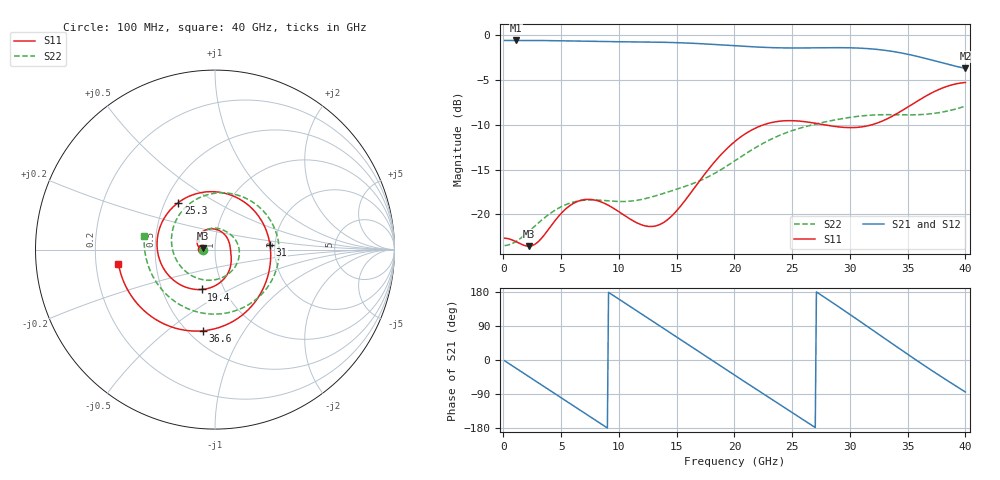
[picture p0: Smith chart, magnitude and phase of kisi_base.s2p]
! B_s8_L1L3_bd_d300: L1→L3, back-drilled to 0.2 mm below L3, drill Ø0.3
! stackup: 8-layer 1.6 mm FR-4 (generic)
! ports: 1, 2
! kisi-fdtd, conformal, dfine 0.035 mm, 637065 cells
# Hz S RI R 50
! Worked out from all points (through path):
!   400 points, 100 MHz to 40 GHz, reference 50 ohm
!   highest |S21| = -0.60 dB at 1.1 GHz (marker M1); lowest = -3.7 dB at 40 GHz (marker M2)
!   group delay of S21, straight-line fit = 55.9 ps
!   lowest |S11| = -23.5 dB at 2.2 GHz (marker M3), VSWR 1.14, Z = 43.8 + j0.602 ohm
!   |S11| at or under -10 dB: start of sweep to 22.54 GHz; 27.75 GHz to 31.91 GHz (4.158 GHz wide, 13.9 % of centre)
!   |S22| runs from -23.5 to -7.9 dB; largest |S21 - S12| = 0.0015
!   S11 on the Smith chart (normalised r, x): 100 MHz: 0.86, +0.00; 19.4 GHz: 0.78, -0.37; 25.3 GHz: 0.59, +0.34; 31 GHz: 1.88, +0.11; 36.6 GHz: 0.59, -0.67; 40 GHz: 0.30, -0.07
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1e8  -0.0737 0.00089  0.9325 -0.0325  0.9318 -0.0324  -0.067 0.000178
1.1e9  -0.07 0.00767  0.8655 -0.3486  0.8651 -0.348  -0.0707 0.00305
2.2e9  -0.0662 0.00684  0.6722 -0.6469  0.6725 -0.6463  -0.0795 0.0122
4.5e9  -0.0916 0.0153  0.00208 -0.9302  0.00228 -0.9307  -0.0867 0.0607
6.8e9  -0.0835 0.0865  -0.6621 -0.6453  -0.6624 -0.6452  -0.043 0.1117
8.4e9  -0.0225 0.1156  -0.8991 -0.1985  -0.8991 -0.1982  0.00373 0.1199
9.9e9  0.0391 0.0969  -0.8763 0.2743  -0.876 0.2743  0.0429 0.1101
1.18e10  0.079 0.0395  -0.5215 0.7527  -0.5215 0.7525  0.0864 0.0841
1.34e10  0.0869 -0.00608  -0.042 0.9117  -0.0422 0.9118  0.121 0.0424
1.49e10  0.0905 -0.0495  0.4195 0.8049  0.4195 0.805  0.1356 -0.0235
1.67e10  0.0759 -0.1238  0.8052 0.3971  0.8054 0.397  0.0933 -0.119
1.94e10  -0.0746 -0.2222  0.7757 -0.4087  0.7756 -0.4088  -0.0976 -0.1597
2.01e10  -0.1375 -0.2171  0.6504 -0.5793  0.6503 -0.5793  -0.1509 -0.1317
2.27e10  -0.3177 -0.0236  -0.0449 -0.8521  -0.0447 -0.8521  -0.2413 0.0775
2.53e10  -0.2047 0.2621  -0.6879 -0.4942  -0.688 -0.4944  -0.1135 0.275
2.67e10  -0.0385 0.3224  -0.8404 -0.1144  -0.8406 -0.1143  0.00984 0.3151
2.87e10  0.1884 0.2454  -0.7144 0.4617  -0.7142 0.4619  0.1953 0.2738
3.1e10  0.3063 0.0264  -0.1367 0.8334  -0.1366 0.8331  0.3446 0.0813
3.34e10  0.2676 -0.2186  0.5384 0.613  0.538 0.6132  0.2907 -0.2123
3.5e10  0.148 -0.3679  0.7547 0.2041  0.755 0.2046  0.1039 -0.3437
3.66e10  -0.069 -0.4526  0.7038 -0.2259  0.7044 -0.2262  -0.137 -0.3349
4e10  -0.5383 -0.0776  0.0633 -0.6489  0.0621 -0.648  -0.394 0.0778
